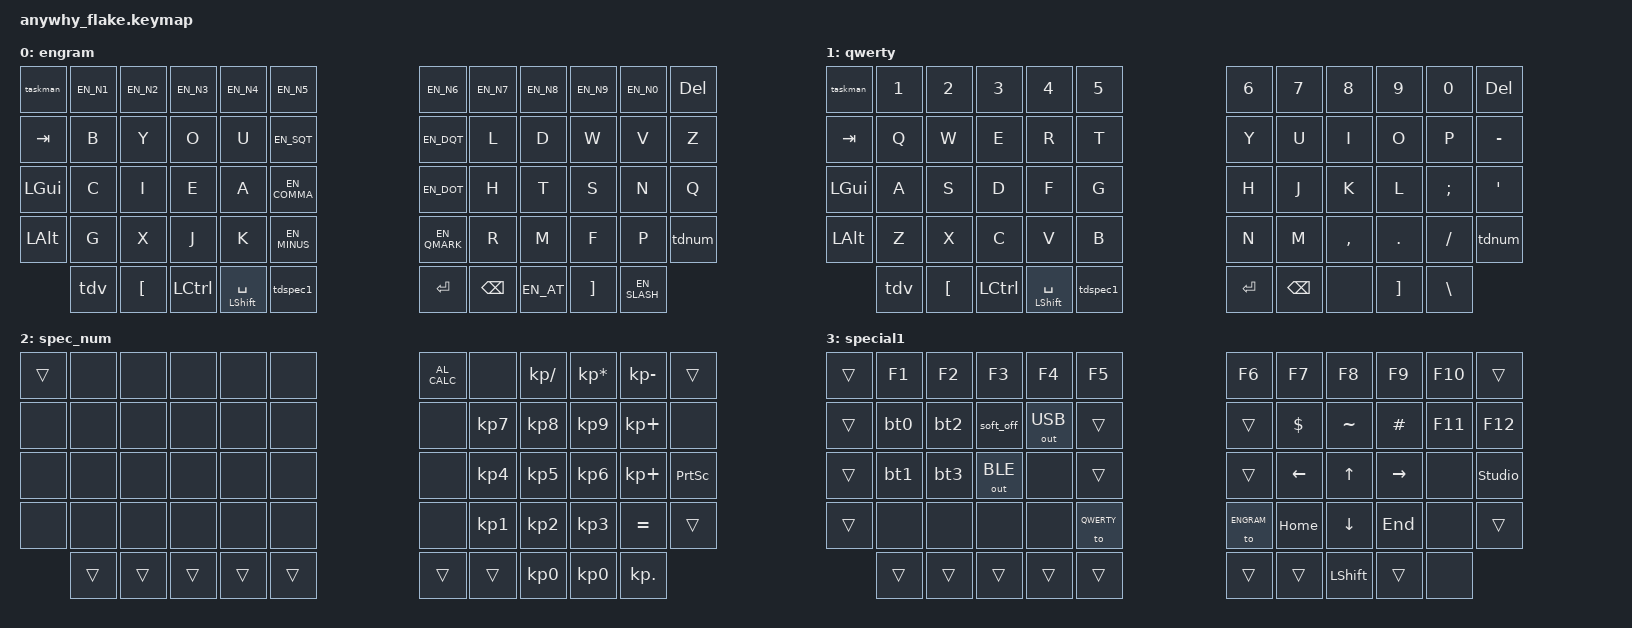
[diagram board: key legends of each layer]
#include <behaviors.dtsi>
#include "includes/engram.dtsi"
#include "includes/bluetooth.dtsi"
#include <dt-bindings/zmk/keys.h>
#include <dt-bindings/zmk/outputs.h>

#define MO_TOG(layer) &mo_tog layer layer   // Macro to apply momentary-layer-on-hold/toggle-layer-on-tap to a specific layer
#define ENGRAM          0
#define QWERTY          1
#define SPEC_NUM        2
#define SPEC1           3

/ {

    macros {
        jp: to_japanese {
            compatible = "zmk,behavior-macro";
            #binding-cells = <0>;
            bindings = <&kp LA(LSHIFT) &kp GRAVE>;
        };
    };

    behaviors {
        taskman: task_manager {
            compatible = "zmk,behavior-mod-morph";
            bindings = <&gresc>, <&kp LS(LC(ESC))>;
            #binding-cells = <0>;
            mods = <(MOD_LGUI|MOD_RGUI)>;
            label = "ESC/TaskMan";
        };

        mo_tog: behavior_mo_tog {
            compatible = "zmk,behavior-hold-tap";
            #binding-cells = <2>;
            flavor = "hold-preferred";
            tapping-term-ms = <200>;
            bindings = <&mo>, <&tog>;
        };

        tdnum: tap_dance_num {
            compatible = "zmk,behavior-tap-dance";
            #binding-cells = <0>;
            tapping-term-ms = <200>;
            bindings = <&mo SPEC_NUM>, <MO_TOG(SPEC_NUM)>;
            label = "TD NUM";
        };

        tdspec1: tap_dance_spec1 {
            compatible = "zmk,behavior-tap-dance";
            #binding-cells = <0>;
            tapping-term-ms = <200>;
            bindings = <&mo SPEC1>, <MO_TOG(SPEC1)>;
            label = "TD Spec1";
        };

        tdv: tap_dance_v {
            compatible = "zmk,behavior-tap-dance";
            #binding-cells = <0>;
            tapping-term-ms = <250>;
            bindings = <&kp LA(LSHIFT)>, <&kp LC(V)>;
            label = "JP/PASTE";
        };

        tdz: tap_dance_z {
            compatible = "zmk,behavior-tap-dance";
            #binding-cells = <0>;
            tapping-term-ms = <250>;
            bindings = <&kp LBKT>, <&kp LC(Z)>;
            label = "LBKT/UNDO";
        };

        tds: tap_dance_s {
            compatible = "zmk,behavior-tap-dance";
            #binding-cells = <0>;
            tapping-term-ms = <250>;
            bindings = <&kp LBKT>, <&kp LC(S)>;
            label = "JP/SAVE";
        };
    };

    keymap {
        compatible = "zmk,keymap";

        engram {
            bindings = <
                &taskman    &EN_N1  &EN_N2  &EN_N3  &EN_N4  &EN_N5                          &EN_N6      &EN_N7  &EN_N8  &EN_N9  &EN_N0  &kp DEL
                &kp TAB     &kp B   &kp Y   &kp O   &kp U   &EN_SQT                         &EN_DQT     &kp L   &kp D   &kp W   &kp V   &kp Z
                &kp LGUI    &kp C   &kp I   &kp E   &kp A   &EN_COMMA                       &EN_DOT     &kp H   &kp T   &kp S   &kp N   &kp Q
                &kp LALT    &kp G   &kp X   &kp J   &kp K   &EN_MINUS                       &EN_QMARK   &kp R   &kp M   &kp F   &kp P   &tdnum
                            &tdv  &kp LBKT  &kp LCTRL  &mt LSHIFT SPACE  &tdspec1         &kp RET  &kp BSPC  &EN_AT  &kp RBKT  &EN_SLASH
            >;
        };

        qwerty {
            bindings = <
                &taskman    &kp N1  &kp N2  &kp N3  &kp N4  &kp N5                              &kp N6  &kp N7  &kp N8      &kp N9  &kp N0      &kp DEL
                &kp TAB     &kp Q   &kp W   &kp E   &kp R   &kp T                               &kp Y   &kp U   &kp I       &kp O   &kp P       &kp MINUS
                &kp LGUI    &kp A   &kp S   &kp D   &kp F   &kp G                               &kp H   &kp J   &kp K       &kp L   &kp SEMI    &kp APOS
                &kp LALT    &kp Z   &kp X   &kp C   &kp V   &kp B                               &kp N   &kp M   &kp COMMA   &kp DOT &kp FSLH    &tdnum
                            &tdv  &kp LBKT  &kp LCTRL  &mt LSHIFT SPACE  &tdspec1       &kp RET  &kp BSPC  &none  &kp RBKT  &kp BSLH
            >;
        };

        spec_num {
            bindings = <
                &trans  &none   &none   &none   &none   &none                   &kp C_AL_CALC   &none       &kp KP_SLASH    &kp KP_ASTERISK &kp KP_MINUS    &trans
                &none   &none   &none   &none   &none   &none                   &none           &kp KP_N7   &kp KP_N8       &kp KP_N9       &kp KP_PLUS     &none
                &none   &none   &none   &none   &none   &none                   &none           &kp KP_N4   &kp KP_N5       &kp KP_N6       &kp KP_PLUS     &kp PRINTSCREEN
                &none   &none   &none   &none   &none   &none                   &none           &kp KP_N1   &kp KP_N2       &kp KP_N3       &kp EQUAL       &trans
                                &trans  &trans  &trans  &trans  &trans       &trans  &trans  &kp KP_N0  &kp KP_N0  &kp KP_DOT
            >;
        };

        special1 {
            bindings = <
                &trans  &kp F1  &kp F2  &kp F3          &kp F4          &kp F5                          &kp F6      &kp F7      &kp F8      &kp F9      &kp F10     &trans
                &trans  &bt0    &bt2    &soft_off       &out OUT_USB    &trans                          &trans      &kp DOLLAR  &kp TILDE   &kp POUND   &kp F11     &kp F12
                &trans  &bt1    &bt3    &out OUT_BLE    &none           &trans                          &trans      &kp LEFT    &kp UP      &kp RIGHT   &none       &studio_unlock
                &trans  &none   &none   &none           &none           &to QWERTY                      &to ENGRAM  &kp HOME    &kp DOWN    &kp END     &none       &trans
                                                     &trans  &trans  &trans  &trans  &trans      &trans  &trans  &kp LSHIFT  &trans  &none
            >;
        };
    };
};
